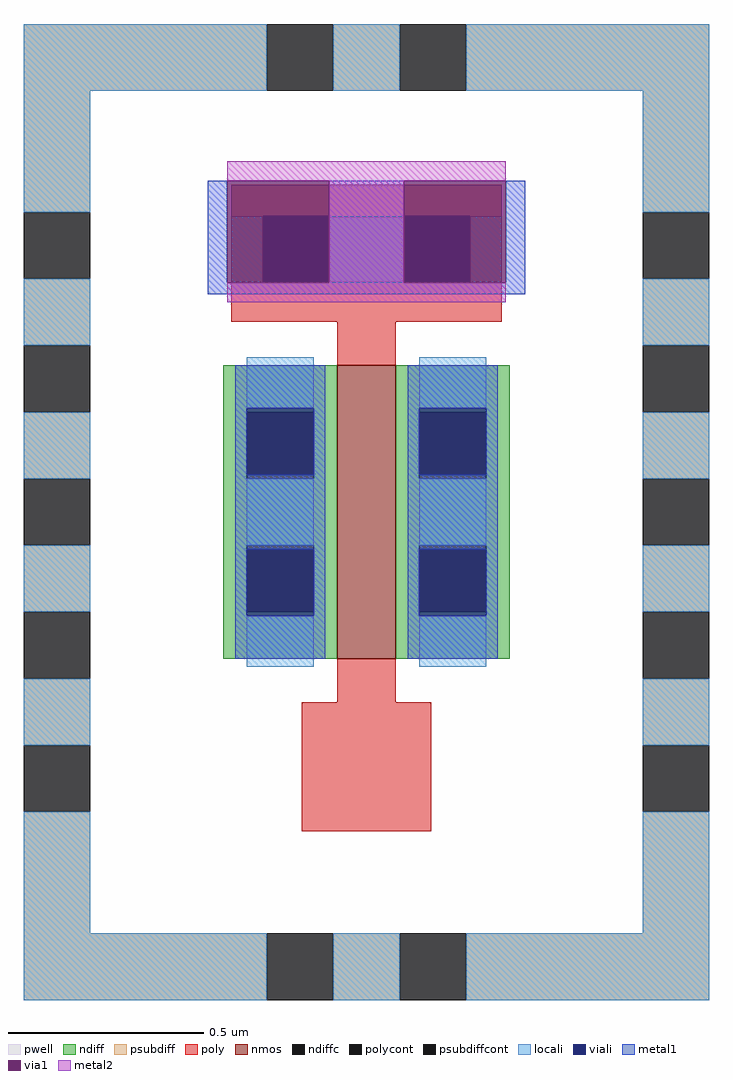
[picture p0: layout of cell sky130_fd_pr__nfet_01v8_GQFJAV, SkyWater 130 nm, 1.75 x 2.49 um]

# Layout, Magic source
magic
tech sky130A
magscale 1 2
<< pwell >>
rect -175 215 175 249
rect -175 -215 -141 215
rect 141 -215 175 215
rect -175 -249 175 -215
<< nmos >>
rect -15 -75 15 75
<< ndiff >>
rect -73 51 -15 75
rect -73 17 -61 51
rect -27 17 -15 51
rect -73 -17 -15 17
rect -73 -51 -61 -17
rect -27 -51 -15 -17
rect -73 -75 -15 -51
rect 15 51 73 75
rect 15 17 27 51
rect 61 17 73 51
rect 15 -17 73 17
rect 15 -51 27 -17
rect 61 -51 73 -17
rect 15 -75 73 -51
<< ndiffc >>
rect -61 17 -27 51
rect -61 -51 -27 -17
rect 27 17 61 51
rect 27 -51 61 -17
<< psubdiff >>
rect -175 215 -51 249
rect -17 215 17 249
rect 51 215 175 249
rect -175 153 -141 215
rect -175 85 -141 119
rect 141 153 175 215
rect 141 85 175 119
rect -175 17 -141 51
rect -175 -51 -141 -17
rect 141 17 175 51
rect 141 -51 175 -17
rect -175 -119 -141 -85
rect -175 -215 -141 -153
rect 141 -119 175 -85
rect 141 -215 175 -153
rect -175 -249 -51 -215
rect -17 -249 17 -215
rect 51 -249 175 -215
<< psubdiffcont >>
rect -51 215 -17 249
rect 17 215 51 249
rect -175 119 -141 153
rect 141 119 175 153
rect -175 51 -141 85
rect -175 -17 -141 17
rect -175 -85 -141 -51
rect 141 51 175 85
rect 141 -17 175 17
rect 141 -85 175 -51
rect -175 -153 -141 -119
rect 141 -153 175 -119
rect -51 -249 -17 -215
rect 17 -249 51 -215
<< poly >>
rect -69 151 69 167
rect -69 117 -53 151
rect -19 117 19 151
rect 53 117 69 151
rect -69 97 69 117
rect -15 75 15 97
rect -15 -97 15 -75
rect -33 -163 33 -97
<< polycont >>
rect -53 117 -19 151
rect 19 117 53 151
<< locali >>
rect -175 215 -51 249
rect -17 215 17 249
rect 51 215 175 249
rect -175 153 -141 215
rect 141 153 175 215
rect -175 85 -141 119
rect -69 117 -53 151
rect -19 117 19 151
rect 53 117 69 151
rect 141 85 175 119
rect -175 17 -141 51
rect -175 -51 -141 -17
rect -61 53 -27 79
rect -61 -17 -27 17
rect -61 -79 -27 -53
rect 27 53 61 79
rect 27 -17 61 17
rect 27 -79 61 -53
rect 141 17 175 51
rect 141 -51 175 -17
rect -175 -119 -141 -85
rect -175 -215 -141 -153
rect 141 -119 175 -85
rect 141 -215 175 -153
rect -175 -249 -51 -215
rect -17 -249 17 -215
rect 51 -249 175 -215
<< viali >>
rect -53 117 -19 151
rect 19 117 53 151
rect -61 51 -27 53
rect -61 19 -27 51
rect -61 -51 -27 -19
rect -61 -53 -27 -51
rect 27 51 61 53
rect 27 19 61 51
rect 27 -51 61 -19
rect 27 -53 61 -51
<< metal1 >>
rect -81 117 -71 169
rect -19 117 19 169
rect 71 117 81 169
rect -81 111 81 117
rect -67 53 -21 75
rect -67 19 -61 53
rect -27 19 -21 53
rect -67 -19 -21 19
rect -67 -53 -61 -19
rect -27 -53 -21 -19
rect -67 -75 -21 -53
rect 21 53 67 75
rect 21 19 27 53
rect 61 19 67 53
rect 21 -19 67 19
rect 21 -53 27 -19
rect 61 -53 67 -19
rect 21 -75 67 -53
<< via1 >>
rect -71 151 -19 169
rect -71 117 -53 151
rect -53 117 -19 151
rect 19 151 71 169
rect 19 117 53 151
rect 53 117 71 151
<< metal2 >>
rect -71 169 71 179
rect -19 117 19 169
rect -71 107 71 117
<< properties >>
string FIXED_BBOX -158 -232 158 232
<< end >>
